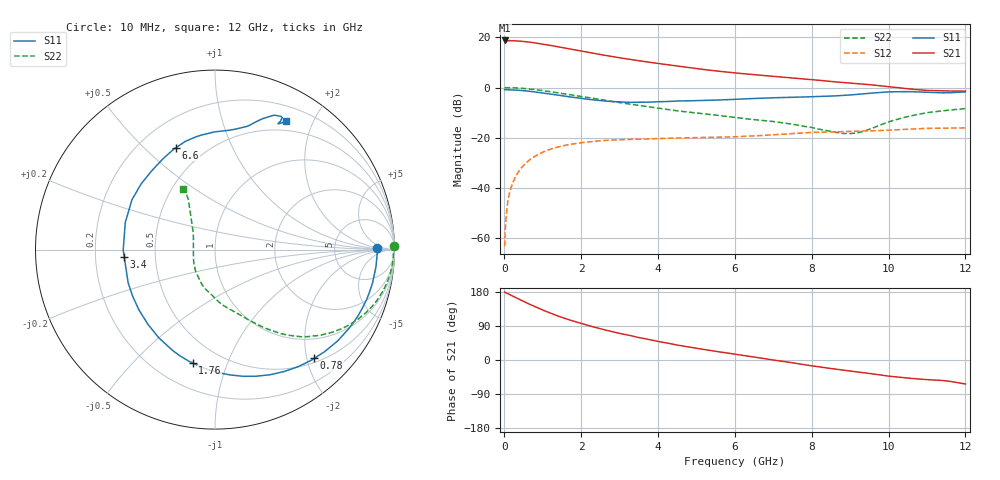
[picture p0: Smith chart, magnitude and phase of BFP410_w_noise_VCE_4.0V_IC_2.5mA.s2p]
! Infineon Technologies  Discrete & RF Semiconductors
! BFP410
! VCE =  4.0 V,  IC =  2.5 mA
! Common Emitter S-Parameters:  Nov 2015
# GHz  S  MA  R  50
!  f  S11  S21  S12  S22
! GHz  MAG  ANG  MAG  ANG  MAG  ANG  MAG  ANG
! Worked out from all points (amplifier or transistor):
!   243 points, 10 MHz to 12 GHz, reference 50 ohm
!   highest |S21| = 18.7 dB at 10 MHz (marker M1)
!   |S21| within 3 dB of that: start of sweep to 1.565 GHz
!   unconditionally stable (mu >= 1): 3.85 GHz to end of sweep
!   at 240 MHz: K = 0.08, MSG = 27.9 dB, |S12| = -37.3 dB
!   at 1.84 GHz: K = 0.42, MSG = 18.6 dB, |S12| = -22.3 dB
!   at 12 GHz: K = 1.12, MAG = 5.2 dB, |S12| = -16.0 dB
!   lowest NFmin = 0.84 dB at 900 MHz
!   S11 on the Smith chart (normalised r, x): 10 MHz: 20, +1; 780 MHz: 0.58, -2.14; 1.76 GHz: 0.35, -0.76; 3.4 GHz: 0.33, -0.03; 6.6 GHz: 0.35, +0.63; 12 GHz: 0.38, +1.64
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0.01  0.9046 0.4  8.625 179.3  0.0007 -5.0  1 1.3
0.03  0.9042 -1.3  8.554 178.2  0.0017 74.5  0.9896 -0.1
0.065  0.9022 -3.8  8.54 176.3  0.0036 81.8  0.9942 -1.5
0.17  0.8977 -10.4  8.538 171.2  0.0098 81.7  0.9913 -4.9
0.45  0.8727 -27.6  8.304 157.3  0.0254 74.6  0.9666 -13.3
0.6  0.8516 -36.8  8.081 149.8  0.0333 70.2  0.9451 -17.6
0.78  0.8206 -47.6  7.749 141.5  0.0421 64.9  0.9135 -22.4
0.94  0.791 -57.0  7.434 134.4  0.0492 60.3  0.8816 -26.4
1.2  0.7418 -72.0  6.889 123.6  0.0594 53.5  0.8266 -32.5
1.42  0.7003 -83.9  6.402 115.2  0.0664 48.2  0.7794 -37.0
1.76  0.6437 -101.2  5.72 103.8  0.075 41.1  0.7113 -42.9
2.02  0.6062 -113.7  5.254 95.9  0.0802 36.5  0.6628 -46.8
2.62  0.5391 -142.4  4.363 79.4  0.0886 27.2  0.5569 -54.5
3.4  0.5075 -175.6  3.501 61.7  0.0938 18.9  0.452 -62.8
4.1  0.5231 160.3  2.938 47.3  0.0974 13.8  0.3794 -70.4
5  0.5511 138.2  2.374 30.8  0.1009 8.9  0.3111 -82.3
6.1  0.5861 118.5  1.922 13.9  0.1057 5.3  0.2485 -95.5
6.6  0.6084 110.9  1.774 6.3  0.1101 4.0  0.2258 -103.6
8.2  0.6614 86.8  1.39 -18.1  0.1291 -4.6  0.1482 -139.9
9.2  0.7336 73.3  1.19 -31.6  0.1351 -10.2  0.126 162.8
10.2  0.823 65.0  0.999 -44.6  0.1442 -14.8  0.2301 125.8
12  0.8189 60.9  0.847 -63.3  0.1578 -28.4  0.3812 118.2
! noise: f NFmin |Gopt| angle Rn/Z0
0.45  0.88  0.45  7  0.25
0.9  0.84  0.43  20  0.24
1.8  1.06  0.33  53  0.2
2.4  1.09  0.33  62  0.18
5.5  2.15  0.34  -141  0.2
10  3.77  0.69  -55  2.12
